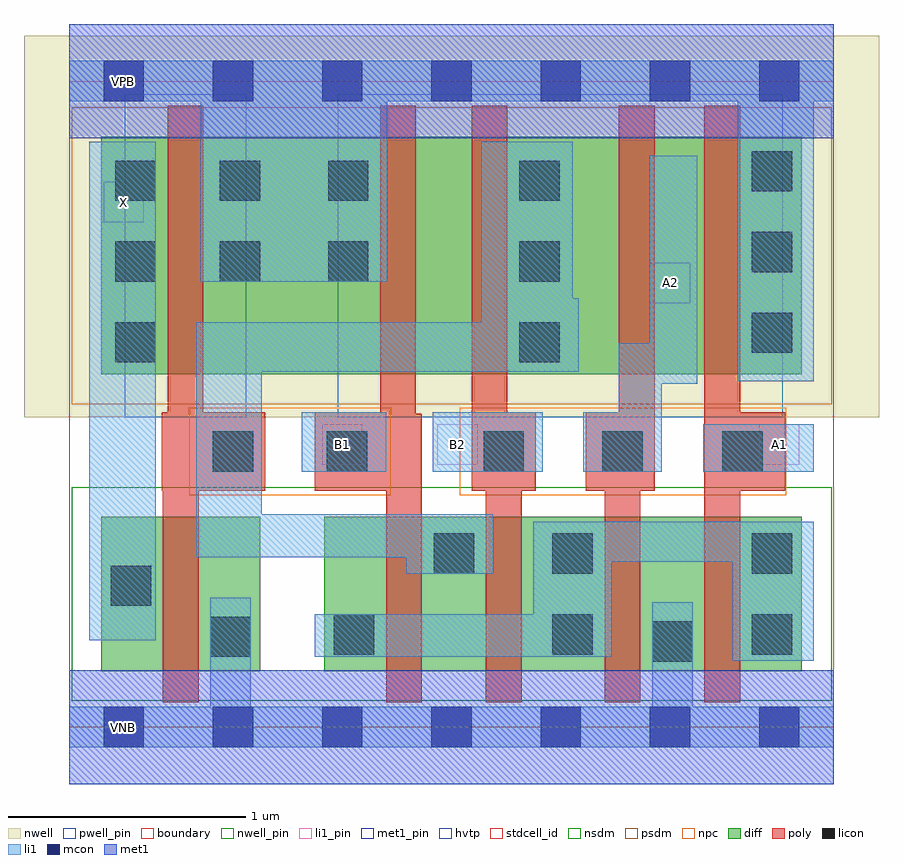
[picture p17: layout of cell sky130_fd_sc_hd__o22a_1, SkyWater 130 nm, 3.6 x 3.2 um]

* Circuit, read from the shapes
.subckt sky130_fd_sc_hd__o22a_1 A1 A2 B1 B2 VGND VNB VPB VPWR X
XM1 VGND n1 X VNB sky130_fd_pr__nfet_01v8 w=0.65 l=0.15
XM2 n1 B1 n2 VNB sky130_fd_pr__nfet_01v8 w=0.65 l=0.15
XM3 n2 B2 n1 VNB sky130_fd_pr__nfet_01v8 w=0.65 l=0.15
XM4 VGND A2 n2 VNB sky130_fd_pr__nfet_01v8 w=0.65 l=0.15
XM5 n2 A1 VGND VNB sky130_fd_pr__nfet_01v8 w=0.65 l=0.15
XM6 VPWR n1 X VPB sky130_fd_pr__pfet_01v8_hvt w=1 l=0.15
XM7 n3 B1 VPWR VPB sky130_fd_pr__pfet_01v8_hvt w=1 l=0.15
XM8 n1 B2 n3 VPB sky130_fd_pr__pfet_01v8_hvt w=1 l=0.15
XM9 n4 A2 n1 VPB sky130_fd_pr__pfet_01v8_hvt w=1 l=0.15
XM10 VPWR A1 n4 VPB sky130_fd_pr__pfet_01v8_hvt w=1 l=0.15
.ends

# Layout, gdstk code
import gdstk
lib = gdstk.Library(unit=1e-6, precision=1e-09)
def R(c, l, rs):  # rectangles x0, y0, x1, y1
    for r in rs: c.add(gdstk.rectangle(r[:2], r[2:], *l))
def A(c, l, x, y, w, h, nx, ny, dx, dy):  # array of equal rectangles
    R(c, l, [(x+i*dx, y+j*dy, x+i*dx+w, y+j*dy+h) for i in range(nx) for j in range(ny)])
nwell_pin = (64, 16)
nwell = (64, 20)
diff = (65, 20)
poly = (66, 20)
licon = (66, 44)
li1_pin = (67, 16)
li1 = (67, 20)
mcon = (67, 44)
met1_pin = (68, 16)
met1 = (68, 20)
hvtp = (78, 44)
stdcell_id = (81, 4)
nsdm = (93, 44)
psdm = (94, 20)
npc = (95, 20)
pwell_pin = (122, 16)
boundary = (235, 4)

sky130_fd_sc_hd__o22a_1 = lib.new_cell('sky130_fd_sc_hd__o22a_1')
R(sky130_fd_sc_hd__o22a_1, nwell_pin, [(0.145,2.635,0.315,2.805)])
R(sky130_fd_sc_hd__o22a_1, nwell, [(-0.19,1.305,3.41,2.91)])
R(sky130_fd_sc_hd__o22a_1, diff, [(0.135,0.235,0.805,0.885), (1.075,0.235,3.085,0.885), (0.135,1.485,3.085,2.485)])
R(sky130_fd_sc_hd__o22a_1, poly, [(0.395,0.105,0.545,0.995), (1.335,0.105,1.485,0.995), (1.755,0.105,1.905,0.995), (2.255,0.105,2.405,0.995), (2.675,0.105,2.825,0.995), (0.39,0.995,0.825,1.325), (1.035,0.995,1.485,1.32), (1.695,0.995,1.965,1.325), (2.175,0.995,2.465,1.325), (2.675,0.995,3.015,1.325), (1.035,1.32,1.46,1.325), (0.415,1.325,0.565,2.615), (1.31,1.325,1.46,2.615), (1.695,1.325,1.845,2.615), (2.315,1.325,2.465,2.615), (2.675,1.325,2.825,2.615)])
A(sky130_fd_sc_hd__o22a_1, licon, 0.195, 1.535, 0.17, 0.17, 1, 3, 0, 0.34)
A(sky130_fd_sc_hd__o22a_1, licon, 1.895, 1.535, 0.17, 0.17, 1, 3, 0, 0.34)
A(sky130_fd_sc_hd__o22a_1, licon, 2.875, 1.575, 0.17, 0.17, 1, 3, 0, 0.34)
R(sky130_fd_sc_hd__o22a_1, licon, [(2.455,0.275,2.625,0.445), (0.595,0.295,0.765,0.465), (1.115,0.305,1.285,0.475), (2.035,0.305,2.205,0.475), (2.875,0.305,3.045,0.475), (0.175,0.51,0.345,0.68), (1.535,0.645,1.705,0.815), (2.035,0.645,2.205,0.815), (2.875,0.645,3.045,0.815), (0.605,1.075,0.775,1.245), (1.085,1.075,1.255,1.245), (1.745,1.075,1.915,1.245), (2.245,1.075,2.415,1.245), (2.75,1.075,2.92,1.245), (0.635,1.875,0.805,2.045), (1.09,1.875,1.26,2.045), (0.635,2.215,0.805,2.385), (1.09,2.215,1.26,2.385)])
R(sky130_fd_sc_hd__o22a_1, li1_pin, [(1.065,1.105,1.235,1.275), (1.55,1.105,1.72,1.275), (2.905,1.105,3.075,1.275), (2.445,1.785,2.615,1.955), (0.145,2.125,0.315,2.295)])
R(sky130_fd_sc_hd__o22a_1, li1, [(0,-0.085,3.22,0.085), (0.595,0.085,0.765,0.545), (2.455,0.085,2.625,0.525), (2.795,0.28,3.135,0.695), (1.035,0.295,2.285,0.475), (0.085,0.365,0.365,2.465), (1.955,0.475,2.285,0.695), (1.42,0.645,1.785,0.715), (1.955,0.695,3.135,0.865), (0.535,0.715,1.785,0.895), (0.535,0.895,0.81,1.495), (0.98,1.075,1.335,1.325), (1.53,1.075,1.995,1.325), (2.165,1.075,2.495,1.325), (2.67,1.075,3.135,1.275), (2.315,1.325,2.495,1.445), (2.315,1.445,2.645,1.615), (2.815,1.455,3.135,2.635), (0.535,1.495,2.145,1.705), (2.445,1.615,2.645,2.405), (1.735,1.705,2.145,1.805), (1.735,1.805,2.12,2.465), (0.555,1.875,1.34,2.635), (0,2.635,3.22,2.805)])
A(sky130_fd_sc_hd__o22a_1, mcon, 0.145, -0.085, 0.17, 0.17, 7, 2, 0.46, 2.72)
R(sky130_fd_sc_hd__o22a_1, met1_pin, [(0.145,-0.085,0.315,0.085), (0.145,2.635,0.315,2.805)])
R(sky130_fd_sc_hd__o22a_1, met1, [(0,-0.24,3.22,0.24), (0,2.48,3.22,2.96)])
R(sky130_fd_sc_hd__o22a_1, hvtp, [(0.235,1.305,0.745,2.665), (1.13,1.305,3.005,2.665)])
R(sky130_fd_sc_hd__o22a_1, stdcell_id, [(0,0,3.22,2.72)])
R(sky130_fd_sc_hd__o22a_1, nsdm, [(0.01,0.11,3.21,1.01)])
R(sky130_fd_sc_hd__o22a_1, psdm, [(0.01,1.36,3.21,2.61)])
R(sky130_fd_sc_hd__o22a_1, npc, [(0.505,0.975,1.355,1.345), (1.645,0.975,3.02,1.345)])
R(sky130_fd_sc_hd__o22a_1, pwell_pin, [(0.145,-0.085,0.315,0.085)])
R(sky130_fd_sc_hd__o22a_1, boundary, [(0,0,3.22,2.72)])
sky130_fd_sc_hd__o22a_1.add(gdstk.Label('VPB', (0.23,2.72), layer=64, texttype=5))
sky130_fd_sc_hd__o22a_1.add(gdstk.Label('VNB', (0.23,0), layer=64, texttype=59))
sky130_fd_sc_hd__o22a_1.add(gdstk.Label('VGND', (0.23,0), layer=68, texttype=5))
sky130_fd_sc_hd__o22a_1.add(gdstk.Label('VPWR', (0.23,2.72), layer=68, texttype=5))
sky130_fd_sc_hd__o22a_1.add(gdstk.Label('B2', (1.635,1.19), layer=67, texttype=5))
sky130_fd_sc_hd__o22a_1.add(gdstk.Label('A2', (2.53,1.87), layer=67, texttype=5))
sky130_fd_sc_hd__o22a_1.add(gdstk.Label('A1', (2.99,1.19), layer=67, texttype=5))
sky130_fd_sc_hd__o22a_1.add(gdstk.Label('B1', (1.15,1.19), layer=67, texttype=5))
sky130_fd_sc_hd__o22a_1.add(gdstk.Label('X', (0.23,2.21), layer=67, texttype=5))

lib.write_gds('sky130_fd_sc_hd__o22a_1.gds')
